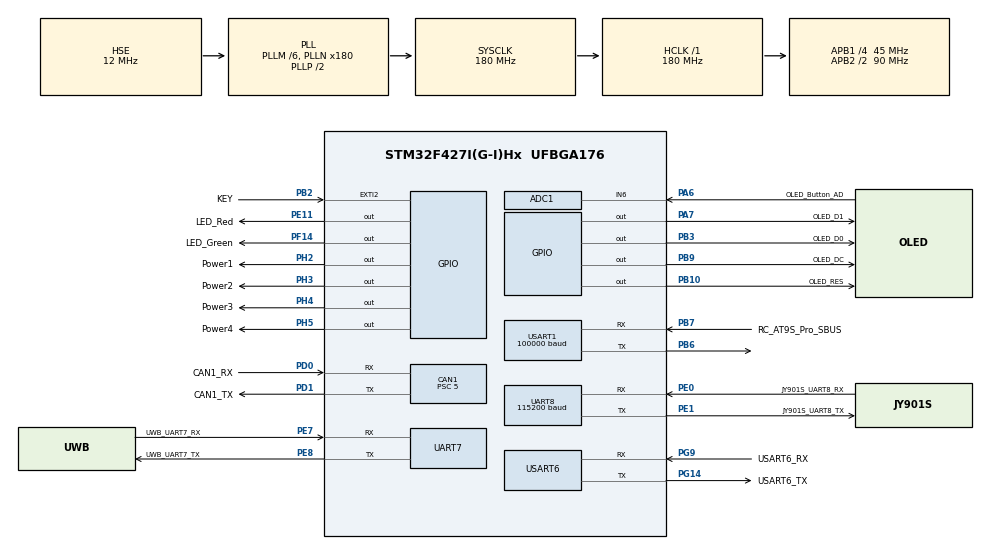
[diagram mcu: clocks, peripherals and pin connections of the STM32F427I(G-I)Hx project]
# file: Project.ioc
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ADC1.Channel-0\#ChannelRegularConversion=ADC_CHANNEL_6
ADC1.ContinuousConvMode=ENABLE
ADC1.InjNumberOfConversion=0
ADC1.NbrOfConversionFlag=1
ADC1.Rank-0\#ChannelRegularConversion=1
ADC1.SamplingTime-0\#ChannelRegularConversion=ADC_SAMPLETIME_3CYCLES
ADC1.master=1
CAN1.BS1=CAN_BS1_3TQ
CAN1.BS2=CAN_BS2_5TQ
CAN1.CalculateBaudRate=1000000
CAN1.CalculateTimeBit=1000
CAN1.CalculateTimeQuantum=111.11111111111111
CAN1.Prescaler=5
Mcu.Family=STM32F4
Mcu.Name=STM32F427I(G-I)Hx
Mcu.Package=UFBGA176
NVIC.ADC_IRQn=true\:0\:0\:false\:false\:true\:true\:true\:true
NVIC.CAN1_RX0_IRQn=true\:5\:0\:true\:false\:true\:true\:true\:true
NVIC.EXTI2_IRQn=true\:0\:0\:false\:false\:true\:true\:true\:true
NVIC.PriorityGroup=NVIC_PRIORITYGROUP_4
NVIC.UART7_IRQn=true\:0\:0\:false\:false\:true\:true\:true\:true
NVIC.UART8_IRQn=true\:0\:0\:false\:false\:true\:true\:true\:true
NVIC.USART1_IRQn=true\:0\:0\:false\:false\:true\:true\:true\:true
NVIC.USART6_IRQn=true\:0\:0\:false\:false\:true\:true\:true\:true
PA13.Mode=Serial_Wire
PA13.Signal=SYS_JTMS-SWDIO
PA14.Mode=Serial_Wire
PA14.Signal=SYS_JTCK-SWCLK
PA6.GPIO_Label=OLED_Button_AD
PA6.Signal=ADCx_IN6
PA7.GPIO_Label=OLED_D1
PA7.GPIO_PuPd=GPIO_PULLUP
PA7.GPIO_Speed=GPIO_SPEED_FREQ_HIGH
PA7.Signal=GPIO_Output
PB10.GPIO_Label=OLED_RES
PB10.GPIO_PuPd=GPIO_PULLUP
PB10.GPIO_Speed=GPIO_SPEED_FREQ_HIGH
PB10.Signal=GPIO_Output
PB2/BOOT1.GPIO_Label=KEY
PB2/BOOT1.GPIO_PuPd=GPIO_PULLDOWN
PB2/BOOT1.Signal=GPXTI2
PB3.GPIO_Label=OLED_D0
PB3.GPIO_PuPd=GPIO_PULLUP
PB3.GPIO_Speed=GPIO_SPEED_FREQ_HIGH
PB3.Signal=GPIO_Output
PB6.Mode=Asynchronous
PB6.Signal=USART1_TX
PB7.GPIO_Label=RC_AT9S_Pro_SBUS
PB7.Mode=Asynchronous
PB7.Signal=USART1_RX
PB9.GPIO_Label=OLED_DC
PB9.GPIO_PuPd=GPIO_PULLUP
PB9.GPIO_Speed=GPIO_SPEED_FREQ_HIGH
PB9.Signal=GPIO_Output
PD0.GPIO_Label=CAN1_RX
PD0.Mode=CAN_Activate
PD0.Signal=CAN1_RX
PD1.GPIO_Label=CAN1_TX
PD1.Mode=CAN_Activate
PD1.Signal=CAN1_TX
PE0.GPIO_Label=JY901S_UART8_RX
PE0.GPIO_ModeDefaultPP=GPIO_MODE_AF_PP
PE0.GPIO_PuPd=GPIO_PULLUP
PE0.GPIO_Speed=GPIO_SPEED_FREQ_VERY_HIGH
PE0.Mode=Asynchronous
PE0.Signal=UART8_RX
PE1.GPIO_Label=JY901S_UART8_TX
PE1.GPIO_ModeDefaultPP=GPIO_MODE_AF_PP
PE1.GPIO_PuPd=GPIO_PULLUP
PE1.GPIO_Speed=GPIO_SPEED_FREQ_VERY_HIGH
PE1.Mode=Asynchronous
PE1.Signal=UART8_TX
PE11.GPIO_Label=LED_Red
PE11.GPIO_PuPd=GPIO_PULLUP
PE11.GPIO_Speed=GPIO_SPEED_FREQ_LOW
PE11.Signal=GPIO_Output
PE7.GPIO_Label=UWB_UART7_RX
PE7.GPIO_ModeDefaultPP=GPIO_MODE_AF_PP
PE7.GPIO_PuPd=GPIO_PULLUP
PE7.GPIO_Speed=GPIO_SPEED_FREQ_VERY_HIGH
PE7.Mode=Asynchronous
PE7.Signal=UART7_RX
PE8.GPIO_Label=UWB_UART7_TX
PE8.GPIO_ModeDefaultPP=GPIO_MODE_AF_PP
PE8.GPIO_PuPd=GPIO_PULLUP
PE8.GPIO_Speed=GPIO_SPEED_FREQ_VERY_HIGH
PE8.Mode=Asynchronous
PE8.Signal=UART7_TX
PF14.GPIO_Label=LED_Green
PF14.GPIO_PuPd=GPIO_PULLUP
PF14.GPIO_Speed=GPIO_SPEED_FREQ_LOW
PF14.Signal=GPIO_Output
PG14.GPIO_Label=USART6_TX
PG14.GPIO_PuPd=GPIO_PULLUP
PG14.GPIO_Speed=GPIO_SPEED_FREQ_VERY_HIGH
PG14.Mode=Asynchronous
PG14.Signal=USART6_TX
PG9.GPIO_Label=USART6_RX
PG9.GPIO_PuPd=GPIO_PULLUP
PG9.GPIO_Speed=GPIO_SPEED_FREQ_VERY_HIGH
PG9.Mode=Asynchronous
PG9.Signal=USART6_RX
PH0/OSC_IN.Mode=HSE-External-Oscillator
PH0/OSC_IN.Signal=RCC_OSC_IN
PH1/OSC_OUT.Mode=HSE-External-Oscillator
PH1/OSC_OUT.Signal=RCC_OSC_OUT
PH2.GPIO_Label=Power1
PH2.GPIO_ModeDefaultOutputPP=GPIO_MODE_OUTPUT_PP
PH2.GPIO_PuPd=GPIO_PULLDOWN
PH2.GPIO_Speed=GPIO_SPEED_FREQ_LOW
PH2.PinState=GPIO_PIN_RESET
PH2.Signal=GPIO_Output
PH3.GPIO_Label=Power2
PH3.GPIO_ModeDefaultOutputPP=GPIO_MODE_OUTPUT_PP
PH3.GPIO_PuPd=GPIO_PULLDOWN
PH3.GPIO_Speed=GPIO_SPEED_FREQ_LOW
PH3.PinState=GPIO_PIN_RESET
PH3.Signal=GPIO_Output
PH4.GPIO_Label=Power3
PH4.GPIO_ModeDefaultOutputPP=GPIO_MODE_OUTPUT_PP
PH4.GPIO_PuPd=GPIO_PULLDOWN
PH4.GPIO_Speed=GPIO_SPEED_FREQ_LOW
PH4.PinState=GPIO_PIN_RESET
PH4.Signal=GPIO_Output
PH5.GPIO_Label=Power4
PH5.GPIO_ModeDefaultOutputPP=GPIO_MODE_OUTPUT_PP
PH5.GPIO_PuPd=GPIO_PULLDOWN
PH5.GPIO_Speed=GPIO_SPEED_FREQ_LOW
PH5.PinState=GPIO_PIN_RESET
PH5.Signal=GPIO_Output
ProjectManager.HeapSize=0x200
ProjectManager.StackSize=0x400
ProjectManager.TargetToolchain=MDK-ARM V5.32
RCC.48MHZClocksFreq_Value=90000000
RCC.AHBFreq_Value=180000000
RCC.APB1CLKDivider=RCC_HCLK_DIV4
RCC.APB1Freq_Value=45000000
RCC.APB1TimFreq_Value=90000000
RCC.APB2CLKDivider=RCC_HCLK_DIV2
RCC.APB2Freq_Value=90000000
RCC.APB2TimFreq_Value=180000000
RCC.CortexFreq_Value=180000000
RCC.HCLKFreq_Value=180000000
RCC.HSE_VALUE=12000000
RCC.HSI_VALUE=16000000
RCC.LSE_VALUE=32768
RCC.PLLM=6
RCC.PLLN=180
RCC.PLLSourceVirtual=RCC_PLLSOURCE_HSE
RCC.SYSCLKFreq_VALUE=180000000
RCC.SYSCLKSource=RCC_SYSCLKSOURCE_PLLCLK
RCC.VCOOutputFreq_Value=360000000
SH.ADCx_IN6.0=ADC1_IN6,IN6
UART7.VirtualMode=Asynchronous
UART8.BaudRate=115200
UART8.VirtualMode=Asynchronous
USART1.BaudRate=100000
USART1.Mode=MODE_TX_RX
USART1.Parity=PARITY_EVEN
USART1.StopBits=STOPBITS_2
USART1.VirtualMode=VM_ASYNC
USART1.WordLength=WORDLENGTH_9B
USART6.VirtualMode=VM_ASYNC
board=custom

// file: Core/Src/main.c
/* USER CODE BEGIN Header */
/**
  ******************************************************************************
  * @file           : main.c
  * @brief          : Main program body
  ******************************************************************************
  * @attention
  *
  * Copyright (c) 2024 STMicroelectronics.
  * All rights reserved.
  *
  * This software is licensed under terms that can be found in the LICENSE file
  * in the root directory of this software component.
  * If no LICENSE file comes with this software, it is provided AS-IS.
  *
  ******************************************************************************
  */
/* USER CODE END Header */
#include "main.h"
#include "adc.h"
#include "can.h"
#include "usart.h"
#include "gpio.h"

void SystemClock_Config(void);

int main(void)
{

  /* MCU Configuration--------------------------------------------------------*/

  /* Reset of all peripherals, Initializes the Flash interface and the Systick. */
  HAL_Init();

  /* Configure the system clock */
  SystemClock_Config();

  /* Initialize all configured peripherals */
  MX_GPIO_Init();
  MX_ADC1_Init();
  MX_CAN1_Init();
  MX_USART6_UART_Init();
  MX_UART8_Init();
  MX_USART1_UART_Init();
  MX_UART7_Init();
  /* USER CODE BEGIN 2 */
  Delay_Init(180);
  LED_Init();
  KEY_Init();
  OLED_Init();
  OLED_Button_Init();
  Power_Init();
  RC_AT9S_Pro_Init();
  Motor_Init();
  JY901S_Init();
  UWB_Init();
  Communication_Init();
  /* USER CODE END 2 */

  /* Infinite loop */
  while(1)
  {

    /* USER CODE BEGIN 3 */
    UWB_Location();

    Send_Data_Motor_M3508 = Send_Data_Tran_Motor_M3508();
    sendData_Motor_M3508();
    HAL_Delay(1);
    Send_Data_JY901S_Acc = Send_Data_Tran_JY901S_Acc();
    sendData_JY901S_Acc();
    HAL_Delay(1);
    Send_Data_JY901S_Ang_Vel = Send_Data_Tran_JY901S_Ang_Vel();
    sendData_JY901S_Ang_Vel();
    HAL_Delay(1);
    Send_Data_JY901S_Ang = Send_Data_Tran_JY901S_Ang();
    sendData_JY901S_Ang();
    HAL_Delay(1);
    Send_Data_UWB = Send_Data_Tran_UWB();
    sendData_UWB();
    HAL_Delay(1);

    Motor_Preferred_Set_W(Motor_M3508_ID01_W, Motor_M3508_ID02_W, Motor_M3508_ID03_W, Motor_M3508_ID04_W);

    HAL_Delay(5);
  }
  /* USER CODE END 3 */
}

void SystemClock_Config(void)
{
  RCC_OscInitTypeDef RCC_OscInitStruct = {0};
  RCC_ClkInitTypeDef RCC_ClkInitStruct = {0};

  /** Configure the main internal regulator output voltage
  */
  __HAL_RCC_PWR_CLK_ENABLE();
  __HAL_PWR_VOLTAGESCALING_CONFIG(PWR_REGULATOR_VOLTAGE_SCALE1);

  /** Initializes the RCC Oscillators according to the specified parameters
  * in the RCC_OscInitTypeDef structure.
  */
  RCC_OscInitStruct.OscillatorType = RCC_OSCILLATORTYPE_HSE;
  RCC_OscInitStruct.HSEState = RCC_HSE_ON;
  RCC_OscInitStruct.PLL.PLLState = RCC_PLL_ON;
  RCC_OscInitStruct.PLL.PLLSource = RCC_PLLSOURCE_HSE;
  RCC_OscInitStruct.PLL.PLLM = 6;
  RCC_OscInitStruct.PLL.PLLN = 180;
  RCC_OscInitStruct.PLL.PLLP = RCC_PLLP_DIV2;
  RCC_OscInitStruct.PLL.PLLQ = 4;
  if (HAL_RCC_OscConfig(&RCC_OscInitStruct) != HAL_OK)
  {
    Error_Handler();
  }

  /** Activate the Over-Drive mode
  */
  if (HAL_PWREx_EnableOverDrive() != HAL_OK)
  {
    Error_Handler();
  }

  /** Initializes the CPU, AHB and APB buses clocks
  */
  RCC_ClkInitStruct.ClockType = RCC_CLOCKTYPE_HCLK|RCC_CLOCKTYPE_SYSCLK
                              |RCC_CLOCKTYPE_PCLK1|RCC_CLOCKTYPE_PCLK2;
  RCC_ClkInitStruct.SYSCLKSource = RCC_SYSCLKSOURCE_PLLCLK;
  RCC_ClkInitStruct.AHBCLKDivider = RCC_SYSCLK_DIV1;
  RCC_ClkInitStruct.APB1CLKDivider = RCC_HCLK_DIV4;
  RCC_ClkInitStruct.APB2CLKDivider = RCC_HCLK_DIV2;

  if (HAL_RCC_ClockConfig(&RCC_ClkInitStruct, FLASH_LATENCY_5) != HAL_OK)
  {
    Error_Handler();
  }
}

void Error_Handler(void)
{
  __disable_irq();
  while (1)
  {
  }
}
